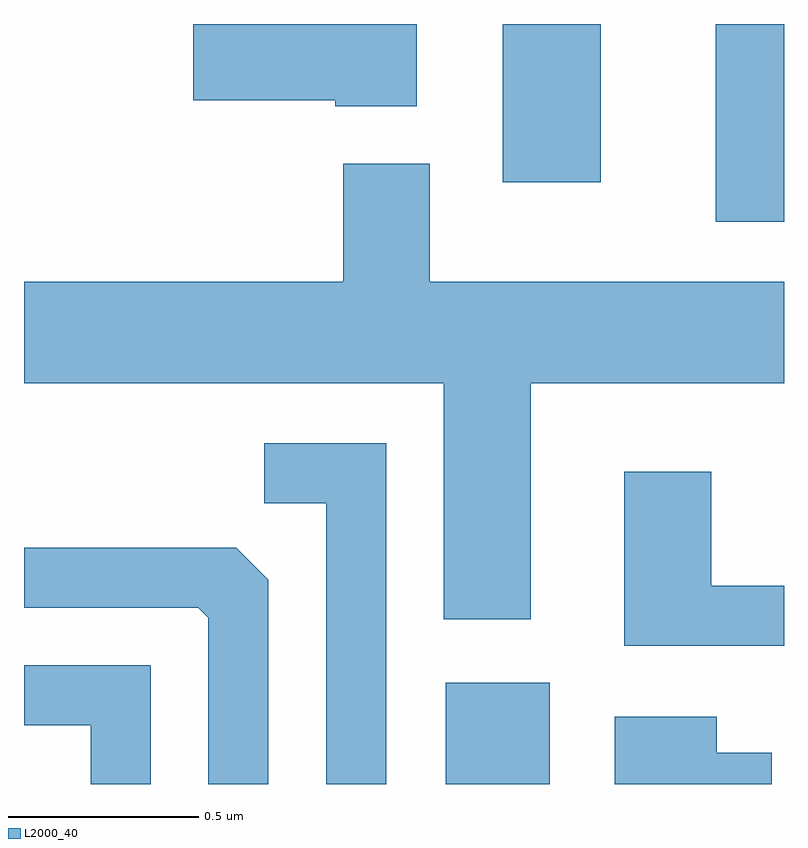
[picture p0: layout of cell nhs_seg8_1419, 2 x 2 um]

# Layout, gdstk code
import gdstk
lib = gdstk.Library(unit=1e-6, precision=1e-09)
def R(c, l, rs):  # rectangles x0, y0, x1, y1
    for r in rs: c.add(gdstk.rectangle(r[:2], r[2:], *l))
def P(c, l, *ps):  # polygons
    for p in ps: c.add(gdstk.Polygon(p, *l))
L2000_40 = (2000, 40)

nhs_seg8_1419 = lib.new_cell('nhs_seg8_1419')
R(nhs_seg8_1419, L2000_40, [(196.721,1855.342,196.994,1855.609), (197.431,1856.821,197.611,1857.342), (196.871,1856.926,197.129,1857.342)])
P(nhs_seg8_1419, L2000_40, [(196.644,1857.342),(196.056,1857.342),(196.056,1857.141),(196.43,1857.141),(196.43,1857.126),(196.644,1857.126)],
  [(196.944,1856.396),(197.611,1856.396),(197.611,1856.664),(196.679,1856.664),(196.679,1856.974),(196.451,1856.974),(196.451,1856.664),(195.611,1856.664),(195.611,1856.396),(196.716,1856.396),(196.716,1855.776),(196.944,1855.776)],
  [(196.564,1856.239),(196.243,1856.239),(196.243,1856.081),(196.406,1856.081),(196.406,1855.342),(196.564,1855.342)],
  [(197.611,1855.864),(197.419,1855.864),(197.419,1856.164),(197.191,1856.164),(197.191,1855.706),(197.611,1855.706)],
  [(196.254,1855.879),(196.169,1855.964),(195.611,1855.964),(195.611,1855.806),(196.069,1855.806),(196.096,1855.779),(196.096,1855.342),(196.254,1855.342)],
  [(195.944,1855.654),(195.611,1855.654),(195.611,1855.496),(195.786,1855.496),(195.786,1855.342),(195.944,1855.342)],
  [(197.579,1855.424),(197.434,1855.424),(197.434,1855.519),(197.166,1855.519),(197.166,1855.342),(197.579,1855.342)])

lib.write_gds('nhs_seg8_1419.gds')
